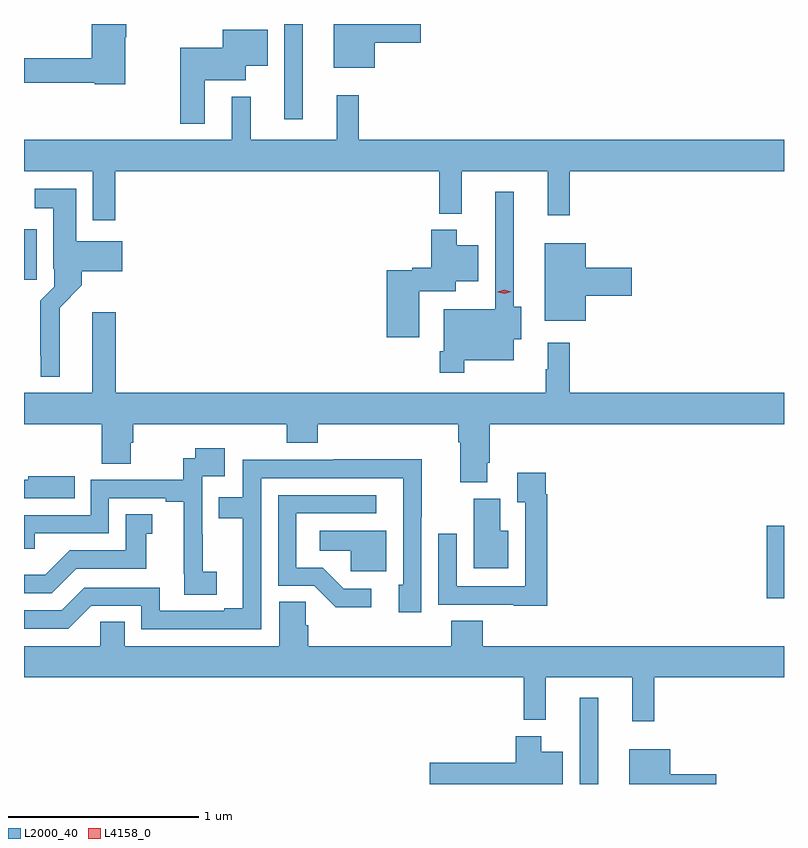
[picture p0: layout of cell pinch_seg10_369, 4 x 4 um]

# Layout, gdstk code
import gdstk
lib = gdstk.Library(unit=1e-6, precision=1e-09)
def R(c, l, rs):  # rectangles x0, y0, x1, y1
    for r in rs: c.add(gdstk.rectangle(r[:2], r[2:], *l))
def P(c, l, *ps):  # polygons
    for p in ps: c.add(gdstk.Polygon(p, *l))
L2000_40 = (2000, 40)
L4158_0 = (4158, 0)

pinch_seg10_369 = lib.new_cell('pinch_seg10_369')
R(pinch_seg10_369, L2000_40, [(556.623,1269.118,556.72,1269.571), (557.606,1270.095,557.698,1270.476), (553.698,1271.772,553.765,1272.039), (555.069,1272.618,555.166,1273.118)])
P(pinch_seg10_369, L2000_40, [(554.232,1273.049),(554.237,1273.049),(554.237,1273.118),(554.054,1273.118),(554.054,1272.938),(553.698,1272.938),(553.698,1272.81),(554.07,1272.81),(554.07,1272.802),(554.232,1272.802)],
  [(555.544,1273.019),(555.787,1273.019),(555.787,1273.118),(555.329,1273.118),(555.329,1272.887),(555.544,1272.887)],
  [(554.65,1272.821),(554.866,1272.821),(554.866,1272.899),(554.98,1272.899),(554.98,1273.087),(554.744,1273.087),(554.744,1272.992),(554.521,1272.992),(554.521,1272.593),(554.65,1272.593)],
  [(554.177,1272.344),(555.883,1272.344),(555.883,1272.119),(556.001,1272.119),(556.001,1272.344),(556.454,1272.344),(556.454,1272.111),(556.571,1272.111),(556.571,1272.344),(557.698,1272.344),(557.698,1272.508),(555.461,1272.508),(555.461,1272.742),(555.344,1272.742),(555.344,1272.508),(554.891,1272.508),(554.891,1272.736),(554.792,1272.736),(554.792,1272.508),(553.698,1272.508),(553.698,1272.344),(554.061,1272.344),(554.061,1272.084),(554.177,1272.084)],
  [(553.885,1271.624),(554.003,1271.742),(554.003,1271.816),(554.215,1271.816),(554.215,1271.974),(553.972,1271.974),(553.972,1272.25),(553.755,1272.25),(553.755,1272.149),(553.853,1272.149),(553.853,1271.83),(553.857,1271.83),(553.857,1271.736),(553.783,1271.662),(553.783,1271.371),(553.787,1271.371),(553.787,1271.261),(553.885,1271.261)],
  [(556.015,1271.348),(556.276,1271.348),(556.276,1271.459),(556.315,1271.459),(556.315,1271.63),(556.276,1271.63),(556.276,1272.235),(556.179,1272.235),(556.179,1271.617),(555.906,1271.617),(555.906,1271.395),(555.886,1271.395),(555.886,1271.283),(556.015,1271.283)],
  [(555.778,1271.711),(555.97,1271.711),(555.97,1271.765),(556.09,1271.765),(556.09,1271.953),(555.976,1271.953),(555.976,1272.034),(555.842,1272.034),(555.842,1271.834),(555.741,1271.834),(555.741,1271.821),(555.608,1271.821),(555.608,1271.469),(555.778,1271.469)],
  [(556.654,1271.687),(556.897,1271.687),(556.897,1271.834),(556.654,1271.834),(556.654,1271.965),(556.439,1271.965),(556.439,1271.555),(556.654,1271.555)],
  [(556.135,1270.81),(556.148,1270.81),(556.148,1271.012),(557.698,1271.012),(557.698,1271.176),(556.571,1271.176),(556.571,1271.44),(556.454,1271.44),(556.454,1271.3),(556.443,1271.3),(556.443,1271.176),(554.18,1271.176),(554.18,1271.602),(554.057,1271.602),(554.057,1271.176),(553.698,1271.176),(553.698,1271.012),(554.108,1271.012),(554.108,1270.804),(554.26,1270.804),(554.26,1270.914),(554.273,1270.914),(554.273,1271.012),(555.08,1271.012),(555.08,1270.913),(555.245,1270.913),(555.245,1271.012),(555.983,1271.012),(555.983,1270.916),(555.995,1270.916),(555.995,1270.705),(556.135,1270.705)],
  [(554.713,1270.236),(554.639,1270.236),(554.639,1270.433),(554.637,1270.433),(554.637,1270.737),(554.755,1270.737),(554.755,1270.885),(554.599,1270.885),(554.599,1270.833),(554.536,1270.833),(554.536,1270.719),(554.049,1270.719),(554.049,1270.533),(553.698,1270.533),(553.698,1270.356),(553.755,1270.356),(553.755,1270.437),(554.145,1270.437),(554.145,1270.623),(554.444,1270.623),(554.444,1270.603),(554.54,1270.603),(554.54,1270.225),(554.542,1270.225),(554.542,1270.114),(554.713,1270.114)],
  [(554.946,1270.728),(555.693,1270.728),(555.693,1270.167),(555.671,1270.167),(555.671,1270.023),(555.789,1270.023),(555.789,1270.522),(555.791,1270.522),(555.791,1270.826),(555.328,1270.826),(555.328,1270.824),(554.85,1270.824),(554.85,1270.626),(554.722,1270.626),(554.722,1270.518),(554.849,1270.518),(554.849,1270.044),(554.753,1270.044),(554.753,1270.029),(554.412,1270.029),(554.412,1270.152),(554.016,1270.152),(553.896,1270.032),(553.698,1270.032),(553.698,1269.936),(553.932,1269.936),(554.052,1270.056),(554.316,1270.056),(554.316,1269.933),(554.946,1269.933)],
  [(556.451,1270.643),(556.444,1270.643),(556.444,1270.756),(556.295,1270.756),(556.295,1270.6),(556.335,1270.6),(556.335,1270.158),(555.975,1270.158),(555.975,1270.435),(555.879,1270.435),(555.879,1270.062),(556.275,1270.062),(556.275,1270.055),(556.451,1270.055)],
  [(553.964,1270.738),(553.721,1270.738),(553.721,1270.719),(553.698,1270.719),(553.698,1270.623),(553.964,1270.623)],
  [(555.526,1270.146),(555.381,1270.146),(555.27,1270.257),(555.132,1270.257),(555.132,1270.542),(555.553,1270.542),(555.553,1270.638),(555.036,1270.638),(555.036,1270.161),(555.225,1270.161),(555.338,1270.049),(555.526,1270.049)],
  [(556.246,1270.45),(556.204,1270.45),(556.204,1270.62),(556.064,1270.62),(556.064,1270.253),(556.246,1270.253)],
  [(553.974,1270.251),(554.341,1270.251),(554.341,1270.435),(554.374,1270.435),(554.374,1270.538),(554.234,1270.538),(554.234,1270.347),(553.938,1270.347),(553.81,1270.219),(553.698,1270.219),(553.698,1270.122),(553.845,1270.122)],
  [(555.604,1270.45),(555.255,1270.45),(555.255,1270.346),(555.417,1270.346),(555.417,1270.239),(555.604,1270.239)],
  [(557.015,1269.68),(557.698,1269.68),(557.698,1269.844),(556.112,1269.844),(556.112,1269.977),(555.947,1269.977),(555.947,1269.844),(555.194,1269.844),(555.194,1269.953),(555.18,1269.953),(555.18,1270.076),(555.041,1270.076),(555.041,1269.844),(554.227,1269.844),(554.227,1269.971),(554.1,1269.971),(554.1,1269.844),(553.698,1269.844),(553.698,1269.68),(556.327,1269.68),(556.327,1269.455),(556.445,1269.455),(556.445,1269.68),(556.898,1269.68),(556.898,1269.447),(557.015,1269.447)],
  [(556.534,1269.289),(556.42,1269.289),(556.42,1269.37),(556.286,1269.37),(556.286,1269.231),(555.834,1269.231),(555.834,1269.118),(556.534,1269.118)],
  [(557.341,1269.17),(557.098,1269.17),(557.098,1269.301),(556.883,1269.301),(556.883,1269.118),(557.341,1269.118)])
P(pinch_seg10_369, L4158_0, [(556.227,1271.699),(556.191,1271.707),(556.191,1271.707),(556.191,1271.708),(556.226,1271.719),(556.262,1271.71),(556.262,1271.71),(556.262,1271.71)])

lib.write_gds('pinch_seg10_369.gds')
